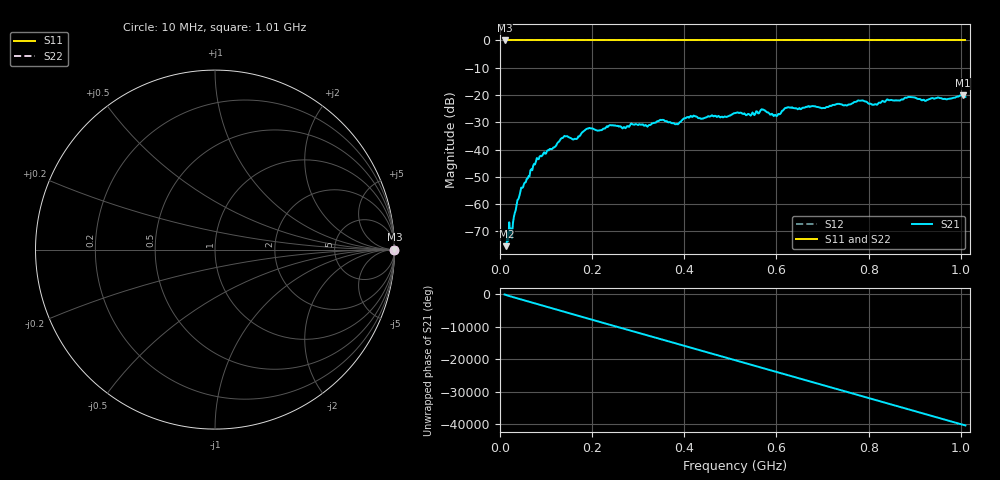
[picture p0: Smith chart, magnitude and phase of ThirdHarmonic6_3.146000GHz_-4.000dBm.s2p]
! 8/17/2025 9:24:16 AM
! C:\ANRITSUVNA\TEMP\TEMP.S2P
! CHANNEL.1
! TR.MEASUREMENT
! RAW.DATA
! RF.CORRECTION.OFF
! AVERAGING.OFF
! IF.BANDWIDTH: 5KHZ
! SWEEPTYPE:  FREQ.SWEEP(Linear)
! Reference Plane Port Info
! PORT:  PORT1  PORT2
! DISTANCE:  0  m  0  m
! TIME:  0  s  0  s
! PHASE.OFFSET:  0  deg.  0  deg.
! LOSS:  0  dB  0  dB
! REF.LOSS:  0  dB  0  dB
! REF.FREQ:  0  Hz  0  Hz
! Power Info
! POWER:  -20  dBm  -20  dBm
! EFF.POWER:  -20  dBm  -20  dBm
! SOURCE.ATTEN:  0  dB  0  dB
! TEST.ATTEN:  0  dB  0  dB
# GHZ S RI R 50.0
! FREQ.GHZ  S11RE  S11IM  S21RE  S21IM  S12RE  S12IM  S22RE  S22IM
!; PortSelection: Port_12
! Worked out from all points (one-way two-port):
!   501 points, 10 MHz to 1.01 GHz, reference 50 ohm
!   highest |S21| = -20.10 dB at 1.004 GHz (marker M1); lowest = -75.4 dB at 14 MHz (marker M2)
!   lowest |S11| = 0.0 dB at 10 MHz (marker M3)
!   |S11| at or under -10 dB: nowhere
!   |S22| runs from 0.0 to 0.0 dB; largest |S21 - S12| = 1.1
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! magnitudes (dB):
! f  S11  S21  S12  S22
! 10 MHz  0.0  -74.9  0.0  0.0
! 14 MHz  0.0  -75.4  0.0  0.0
! 26 MHz  0.0  -72.5  0.0  0.0
! 42 MHz  0.0  -57.0  0.0  0.0
! 78 MHz  0.0  -44.4  0.0  0.0
! 136 MHz  0.0  -35.7  0.0  0.0
! 164 MHz  0.0  -36.1  0.0  0.0
! 178 MHz  0.0  -33.7  0.0  0.0
! 192 MHz  0.0  -32.2  0.0  0.0
! 344 MHz  0.0  -29.6  0.0  0.0
! 384 MHz  0.0  -30.6  0.0  0.0
! 418 MHz  0.0  -28.0  0.0  0.0
! 510 MHz  0.0  -26.6  0.0  0.0
! 570 MHz  0.0  -25.3  0.0  0.0
! 598 MHz  0.0  -27.3  0.0  0.0
! 622 MHz  0.0  -24.7  0.0  0.0
! 678 MHz  0.0  -24.0  0.0  0.0
! 782 MHz  0.0  -22.1  0.0  0.0
! 814 MHz  0.0  -23.4  0.0  0.0
! 844 MHz  0.0  -21.9  0.0  0.0
! 1.004 GHz  0.0  -20.1  0.0  0.0
! 1.01 GHz  0.0  -20.7  0.0  0.0
